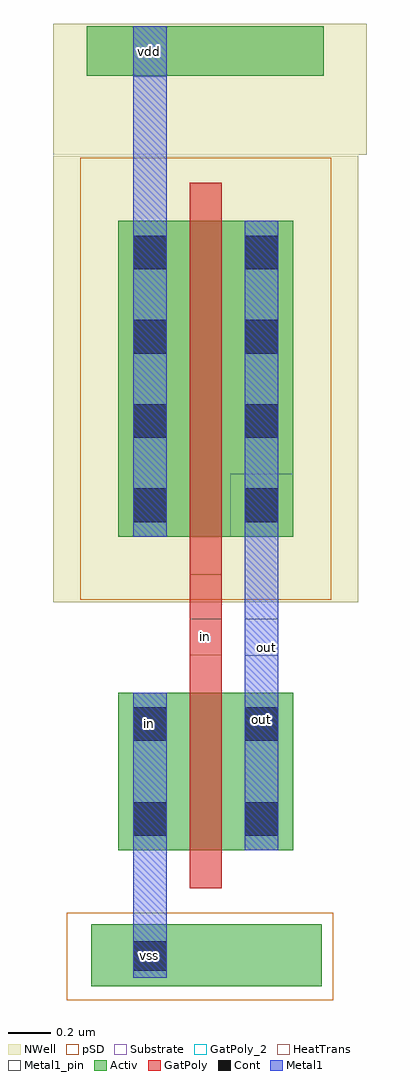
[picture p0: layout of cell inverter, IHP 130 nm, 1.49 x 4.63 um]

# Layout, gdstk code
import gdstk
lib = gdstk.Library(unit=1e-6, precision=5e-09)
def R(c, l, rs):  # rectangles x0, y0, x1, y1
    for r in rs: c.add(gdstk.rectangle(r[:2], r[2:], *l))
def A(c, l, x, y, w, h, nx, ny, dx, dy):  # array of equal rectangles
    R(c, l, [(x+i*dx, y+j*dy, x+i*dx+w, y+j*dy+h) for i in range(nx) for j in range(ny)])
Activ = (1, 0)
GatPoly = (5, 0)
GatPoly_2 = (5, 2)
Cont = (6, 0)
Metal1 = (8, 0)
Metal1_pin = (8, 2)
pSD = (14, 0)
NWell = (31, 0)
Substrate = (40, 0)
HeatTrans = (51, 0)

nmos = lib.new_cell('nmos')
R(nmos, Activ, [(0,0,0.3,0.3), (0,0,0.83,0.75), (0.53,0,0.83,0.3)])
R(nmos, GatPoly, [(0.34,-0.18,0.49,0.93)])
R(nmos, GatPoly_2, [(0.34,-0.18,0.49,0.93)])
R(nmos, Cont, [(0.07,0.07,0.23,0.23), (0.6,0.07,0.76,0.23), (0.07,0.52,0.23,0.68), (0.6,0.52,0.76,0.68)])
R(nmos, Metal1, [(0.07,0,0.23,0.75), (0.6,0,0.76,0.75)])
R(nmos, Metal1_pin, [(0.07,0,0.23,0.75), (0.6,0,0.76,0.75)])
R(nmos, HeatTrans, [(0.34,-0.18,0.49,0.93)])
nmos.add(gdstk.Label('nmos', (0.415,0.375), layer=63, texttype=0))
nmos.add(gdstk.Label('nmos', (0.415,0.375), layer=51, texttype=0))

pmos = lib.new_cell('pmos')
R(pmos, Activ, [(0,0,0.3,0.3), (0,0,0.83,1.5), (0.53,0,0.83,0.3)])
R(pmos, GatPoly, [(0.34,-0.18,0.49,1.68), (0.34,-0.18,0.49,1.68)])
A(pmos, Cont, 0.07, 0.07, 0.16, 0.16, 1, 4, 0, 0.4)
A(pmos, Cont, 0.6, 0.07, 0.16, 0.16, 1, 4, 0, 0.4)
R(pmos, Metal1, [(0.07,0,0.23,1.5), (0.07,0,0.23,1.5), (0.6,0,0.76,1.5), (0.6,0,0.76,1.5)])
R(pmos, pSD, [(-0.18,-0.3,1.01,1.8)])
R(pmos, NWell, [(-0.31,-0.31,1.14,1.81)])
R(pmos, Substrate, [(0.53,0,0.83,0.3)])
R(pmos, HeatTrans, [(0.34,-0.18,0.49,1.68)])
pmos.add(gdstk.Label('pmos', (0.415,0.75), layer=63, texttype=0))
pmos.add(gdstk.Label('pmos', (0.415,0.75), layer=51, texttype=0))

inverter = lib.new_cell('inverter')
R(inverter, Activ, [(-0.745,-1.77,0.35,-1.475), (-0.765,2.555,0.36,2.79)])
R(inverter, GatPoly, [(-0.275,-0.195,-0.125,0.185)])
R(inverter, GatPoly_2, [(-0.275,-0.195,-0.125,-0.025)])
R(inverter, Cont, [(-0.545,-1.695,-0.385,-1.555)])
R(inverter, Metal1, [(-0.545,-1.73,-0.385,-0.845), (-0.015,-0.375,0.145,0.365), (-0.545,0.365,-0.385,1.365), (-0.545,1.865,-0.385,2.79)])
R(inverter, Metal1_pin, [(-0.545,-0.58,-0.385,-0.455), (-0.015,-0.57,0.145,-0.435), (-0.015,-0.2,0.145,-0.025), (-0.545,2.55,-0.385,2.79)])
R(inverter, pSD, [(-0.86,-1.835,0.405,-1.42)])
R(inverter, NWell, [(-0.925,2.18,0.565,2.8)])
inverter.add(gdstk.Reference(nmos, (-0.615,-1.125)))
inverter.add(gdstk.Reference(pmos, (-0.615,0.365)))
inverter.add(gdstk.Label('out', (0.09,-0.16), layer=8, texttype=0))
inverter.add(gdstk.Label('vss', (-0.465,-1.625), layer=14, texttype=0))
inverter.add(gdstk.Label('out', (0.065,-0.505), layer=8, texttype=2))
inverter.add(gdstk.Label('in', (-0.465,-0.52), layer=8, texttype=2))
inverter.add(gdstk.Label('vdd', (-0.465,2.67), layer=8, texttype=2))
inverter.add(gdstk.Label('in', (-0.2,-0.11), layer=8, texttype=2))
inverter.add(gdstk.Label('in', (-0.215,-0.085), layer=5, texttype=2))

lib.write_gds('inverter.gds')
